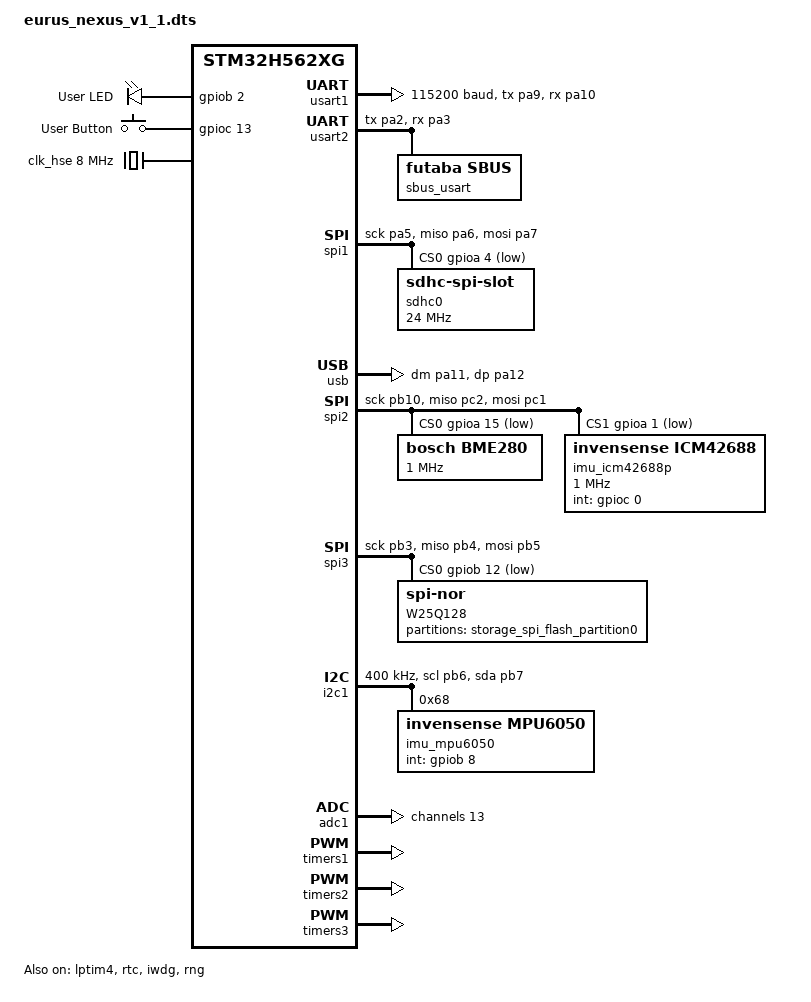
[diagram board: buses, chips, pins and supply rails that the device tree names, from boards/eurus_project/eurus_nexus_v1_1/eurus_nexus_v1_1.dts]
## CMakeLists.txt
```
# This file is part of the efc project <https://github.com/eurus-project/efc/>.
# Copyright (c) (2024 - Present), The efc developers.
#
# This program is free software: you can redistribute it and/or modify
# it under the terms of the GNU General Public License as published by
# the Free Software Foundation, version 3.
#
# This program is distributed in the hope that it will be useful, but
# WITHOUT ANY WARRANTY; without even the implied warranty of
# MERCHANTABILITY or FITNESS FOR A PARTICULAR PURPOSE. See the GNU
# General Public License for more details.
#
# You should have received a copy of the GNU General Public License
# along with this program. If not, see <http://www.gnu.org/licenses/>.

cmake_minimum_required(VERSION 3.20.0)

set(EFC_SOURCE_DIR ${CMAKE_CURRENT_SOURCE_DIR})
if(CMAKE_HOST_WIN32)
	set(VENV_PYTHON ${EFC_SOURCE_DIR}/python_venv/Scripts/python)
else()
	set(VENV_PYTHON ${EFC_SOURCE_DIR}/python_venv/bin/python)
endif()

add_subdirectory(libs)
```

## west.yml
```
manifest:
  remotes:
    - name: eurus-project
      url-base: https://github.com/eurus-project
    - name: upstream-zephyr
      url-base: https://github.com/zephyrproject-rtos
  projects:
    - name: zephyr
      remote: upstream-zephyr
      revision: main
      import: true
  self:
    path: efc
```

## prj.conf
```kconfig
# 
# This file is part of the efc project <https://github.com/eurus-project/efc/>.
# Copyright (c) 2024 The efc developers.
# 
# This program is free software: you can redistribute it and/or modify
# it under the terms of the GNU General Public License as published by
# the Free Software Foundation, version 3.
# 
# This program is distributed in the hope that it will be useful, but
# WITHOUT ANY WARRANTY; without even the implied warranty of
# MERCHANTABILITY or FITNESS FOR A PARTICULAR PURPOSE. See the GNU
# General Public License for more details.
# 
# You should have received a copy of the GNU General Public License
# along with this program. If not, see <http://www.gnu.org/licenses/>.
#

CONFIG_GPIO=y
CONFIG_SERIAL=y
CONFIG_CONSOLE=y
CONFIG_USB_DEVICE_STACK=y
CONFIG_I2C=y
CONFIG_DEBUG=y

CONFIG_ICM42688=y
CONFIG_ICM42688_TRIGGER_OWN_THREAD=y
CONFIG_SENSOR=y

CONFIG_DISK_ACCESS=y
CONFIG_DISK_DRIVERS=y
CONFIG_DISK_DRIVER_SDMMC=y

CONFIG_FILE_SYSTEM=y
CONFIG_FILE_SYSTEM_LITTLEFS=y

CONFIG_FS_LITTLEFS_BLK_DEV=y
CONFIG_FS_LITTLEFS_FMP_DEV=n
CONFIG_FS_LITTLEFS_FC_HEAP_SIZE=8192
CONFIG_FS_LITTLEFS_READ_SIZE=512
CONFIG_FS_LITTLEFS_PROG_SIZE=512
CONFIG_FS_LITTLEFS_CACHE_SIZE=512
CONFIG_FS_LITTLEFS_LOOKAHEAD_SIZE=2048
CONFIG_FS_LITTLEFS_BLOCK_CYCLES=-1

CONFIG_MAIN_STACK_SIZE=4096

CONFIG_LOG=y
CONFIG_DEBUG_COREDUMP=y
CONFIG_DEBUG_COREDUMP_BACKEND_LOGGING=y

CONFIG_CBPRINTF_FP_SUPPORT=y
```

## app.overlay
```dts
/ {
	chosen {
		zephyr,console = &cdc_acm_uart;
	};
};

&zephyr_udc0 {
	cdc_acm_uart: cdc_acm_uart0 {
		compatible = "zephyr,cdc-acm-uart";
	};
};
```

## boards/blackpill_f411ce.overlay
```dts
/*
 * This file is part of the efc project <https://github.com/eurus-project/efc/>.
 * Copyright (c) 2024 The efc developers.
 *
 * This program is free software: you can redistribute it and/or modify
 * it under the terms of the GNU General Public License as published by
 * the Free Software Foundation, version 3.
 *
 * This program is distributed in the hope that it will be useful, but
 * WITHOUT ANY WARRANTY; without even the implied warranty of
 * MERCHANTABILITY or FITNESS FOR A PARTICULAR PURPOSE. See the GNU
 * General Public License for more details.
 *
 * You should have received a copy of the GNU General Public License
 * along with this program. If not, see <http://www.gnu.org/licenses/>.
 */

/ {
	chosen {
		zephyr,console = &cdc_acm_uart;
		telemetry,ground = &usart1;
	};
};

&zephyr_udc0 {
	cdc_acm_uart: cdc_acm_uart0 {
		compatible = "zephyr,cdc-acm-uart";
	};
};

&spi1 {
    cs-gpios = <&gpioa 4 GPIO_ACTIVE_LOW>;

	sdhc0: sdhc@0 {
                compatible = "zephyr,sdhc-spi-slot";
                reg = <0>;
                status = "okay";
                mmc {
                    compatible = "zephyr,sdmmc-disk";
                    disk-name = "SD";
                    status = "okay";
                };
                spi-max-frequency = <24000000>;
        };
};

&spi2 {
    status = "okay";
    pinctrl-0 = <&spi2_sck_pb13 &spi2_miso_pb14 &spi2_mosi_pb15>;
    pinctrl-names = "default";
    cs-gpios = <&gpiob 12 (GPIO_ACTIVE_LOW | GPIO_PULL_UP)>;

    bme280@0 {
        compatible = "bosch,bme280";
        reg = <0>;
        spi-max-frequency = <1000000>;
    };
};

&i2c1 {
	main_imu: mpu6050@68 {
		compatible = "invensense,mpu6050";
		reg = <0x68>;
		status = "okay";
		int-gpios = <&gpiob 7 GPIO_ACTIVE_HIGH>;
	};
};
```

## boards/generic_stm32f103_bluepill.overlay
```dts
/* Overlay file to change LED pin to PB4 */

/ {
    chosen {
        zephyr,console = &cdc_acm_uart;
    };
    leds {
        led: led {
            gpios = <&gpioc 13 GPIO_ACTIVE_HIGH>;
            label = "LD";
        };
        gpio_a6 : gpioa6 {
            gpios = <&gpioa 6 GPIO_ACTIVE_HIGH>;
            label = "GPIO A6";
        };
    };
};

&zephyr_udc0 {
	cdc_acm_uart: cdc_acm_uart0 {
		compatible = "zephyr,cdc-acm-uart";
	};
};
```

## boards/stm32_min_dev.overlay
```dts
/ {
    chosen {
		zephyr,console = &usart2;
	};

    leds {
        compatible = "gpio-leds";
        led: led {
            gpios = <&gpioc 13 GPIO_ACTIVE_HIGH>;
            label = "LD";
        };
    };

    aliases {
        led0 = &led;
    };
};

&usart1 {
    status = "disabled";
};

/* Enable PWM */
&timers1 {
    status = "okay";
    st,prescaler = <24>;

    pwm1: pwm {
        status = "okay";
        pinctrl-0 = <&tim1_ch1_pwm_out_pa8 &tim1_ch2_pwm_out_pa9 
                        &tim1_ch3_pwm_out_pa10 &tim1_ch4_pwm_out_pa11>;
        pinctrl-names = "default";
    };

};

&spi1 {
    cs-gpios = <&gpioa 4 GPIO_ACTIVE_LOW>;

	sdhc0: sdhc@0 {
                compatible = "zephyr,sdhc-spi-slot";
                reg = <0>;
                status = "okay";
                mmc {
                    compatible = "zephyr,sdmmc-disk";
                    disk-name = "SD";
                    status = "okay";
                };
                spi-max-frequency = <24000000>;
        };
};

&i2c1 {
    main_imu: mpu6050@68 {
        compatible = "invensense,mpu6050";
        reg = <0x68>;
        status = "okay";
        int-gpios = <&gpiob 5 GPIO_ACTIVE_HIGH>;
    };
};
```

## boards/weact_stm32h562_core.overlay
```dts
/*
 * This file is part of the efc project <https://github.com/eurus-project/efc/>.
 * Copyright (c) 2024 The efc developers.
 *
 * This program is free software: you can redistribute it and/or modify
 * it under the terms of the GNU General Public License as published by
 * the Free Software Foundation, version 3.
 *
 * This program is distributed in the hope that it will be useful, but
 * WITHOUT ANY WARRANTY; without even the implied warranty of
 * MERCHANTABILITY or FITNESS FOR A PARTICULAR PURPOSE. See the GNU
 * General Public License for more details.
 *
 * You should have received a copy of the GNU General Public License
 * along with this program. If not, see <http://www.gnu.org/licenses/>.
 */

/ {
	chosen {
		zephyr,console = &cdc_acm_uart;
	};
};

&zephyr_udc0 {
	cdc_acm_uart: cdc_acm_uart0 {
		compatible = "zephyr,cdc-acm-uart";
	};
};

&spi1 {
    cs-gpios = <&gpioa 4 GPIO_ACTIVE_LOW>;

	sdhc0: sdhc@0 {
                compatible = "zephyr,sdhc-spi-slot";
                reg = <0>;
                status = "okay";
                mmc {
                    compatible = "zephyr,sdmmc-disk";
                    disk-name = "SD";
                    status = "okay";
                };
                spi-max-frequency = <24000000>;
        };
};

&spi2 {
    status = "okay";
    pinctrl-0 = <&spi2_sck_pb10 &spi2_miso_pc2 &spi2_mosi_pc1>;
    pinctrl-names = "default";
    cs-gpios = <&gpioa 3 (GPIO_ACTIVE_LOW | GPIO_PULL_UP)>;

    bme280@0 {
        compatible = "bosch,bme280";
        reg = <0>;
        spi-max-frequency = <1000000>;
    };
};

&i2c1 {
	main_imu: mpu6050@68 {
		compatible = "invensense,mpu6050";
		reg = <0x68>;
		status = "okay";
		int-gpios = <&gpiob 8 GPIO_ACTIVE_HIGH>;
	};
};
```

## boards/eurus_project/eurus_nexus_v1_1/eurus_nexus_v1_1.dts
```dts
/*
 * This file is part of the efc project <https://github.com/eurus-project/efc/>.
 * Copyright (c) 2024 - 2025 The efc developers.
 *
 * This program is free software: you can redistribute it and/or modify
 * it under the terms of the GNU General Public License as published by
 * the Free Software Foundation, version 3.
 *
 * This program is distributed in the hope that it will be useful, but
 * WITHOUT ANY WARRANTY; without even the implied warranty of
 * MERCHANTABILITY or FITNESS FOR A PARTICULAR PURPOSE. See the GNU
 * General Public License for more details.
 *
 * You should have received a copy of the GNU General Public License
 * along with this program. If not, see <http://www.gnu.org/licenses/>.
 */

/dts-v1/;
#include <st/h5/stm32h562Xg.dtsi>
#include <st/h5/stm32h562rgtx-pinctrl.dtsi>
#include <zephyr/dt-bindings/input/input-event-codes.h>
#include <zephyr/dt-bindings/sensor/icm42688.h>

/ {
	chosen {
		zephyr,console = &cdc_acm_uart;
        zephyr,shell-uart = &cdc_acm_uart;
        zephyr,code-partition = &slot0_partition;
		zephyr,sram = &sram1;
		zephyr,flash = &flash0;
		telemetry,ground = &usart1;
        futaba,sbus = &sbus_usart;
	};

	aliases {
		led0 = &led_0;
		sw0 = &button_0;
		watchdog0 = &iwdg;
	};

	leds {
		compatible = "gpio-leds";

		led_0: led0 {
			gpios = <&gpiob 2 GPIO_ACTIVE_HIGH>;
			label = "User LED";
		};
	};

	gpio_keys {
		compatible = "gpio-keys";

		button_0: button0 {
			label = "User Button";
			gpios = <&gpioc 13 (GPIO_PULL_DOWN | GPIO_ACTIVE_HIGH)>;
			zephyr,code = <INPUT_KEY_0>;
		};
	};
};

&clk_lsi {
	status = "okay";
};

&clk_lse {
	status = "okay";
};

&clk_hsi {
	status = "okay";
};

&clk_hsi48 {
	status = "okay";
};

&clk_hse {
	status = "okay";
	clock-frequency = <DT_FREQ_M(8)>;
};

&rcc {
	clocks = <&pll>;
	clock-frequency = <DT_FREQ_M(240)>;
	ahb-prescaler = <1>;
	apb1-prescaler = <2>;
	apb2-prescaler = <1>;
	apb3-prescaler = <2>;
};

&pll {
	div-m = <2>;
	mul-n = <120>;
	div-p = <2>;
	div-q = <6>; // NOTE: This divider value cannot be lower than this because ADC has a limit on clock value
	div-r = <2>;
	clocks = <&clk_hse>;
	status = "okay";
};

stm32_lp_tick_source: &lptim4 {
	clocks = <&rcc STM32_CLOCK(APB3, 13)>,
		 <&rcc STM32_SRC_LSI LPTIM4_SEL(4)>;
	status = "okay";
};

&flash0 {
	partitions {
		compatible = "fixed-partitions";

		#address-cells = <1>;
		#size-cells = <1>;

		boot_partition: partition@0 {
			label = "mcuboot";
			reg = <0x00000000 DT_SIZE_K(64)>;
		};

		slot0_partition: partition@10000 {
			label = "image-0";
			reg = <0x00010000 DT_SIZE_K(448)>;
		};

		slot1_partition: partition@80000 {
			label = "image-1";
			reg = <0x00080000 DT_SIZE_K(448)>;
		};

		storage_partition: partition@f0000 {
			label = "storage";
			reg = <0x000f0000 DT_SIZE_K(64)>;
		};
	};
};

&sdmmc1 {
    status = "disabled";
};

&rtc {
	clocks = <&rcc STM32_CLOCK(APB3, 21)>,
		 <&rcc STM32_SRC_LSE RTC_SEL(1)>;
	status = "okay";
};

&iwdg {
	status = "okay";
};

&rng {
	status = "okay";
};

&usart1 {
	status = "okay";
	pinctrl-0 = <&usart1_tx_pa9 &usart1_rx_pa10>;
	pinctrl-names = "default";
	current-speed = <115200>;
};

&usart2 {
    pinctrl-0 = <&usart2_tx_pa2 &usart2_rx_pa3>;
	pinctrl-names = "default";
	status = "okay";

    sbus_usart: sbus {
        compatible = "futaba,sbus";
        right_stick_x {
            channel = <1>;
            type = <INPUT_EV_ABS>;
            zephyr,code = <INPUT_ABS_RX>;
        };
        right_stick_y {
            channel = <2>;
            type = <INPUT_EV_ABS>;
            zephyr,code = <INPUT_ABS_RY>;
        };
        left_stick_x {
            channel = <3>;
            type = <INPUT_EV_ABS>;
            zephyr,code = <INPUT_ABS_THROTTLE>;
        };
        left_stick_y {
            channel = <4>;
            type = <INPUT_EV_ABS>;
            zephyr,code = <INPUT_ABS_RZ>;
        };
    };
};

&spi1 {
    pinctrl-0 = <&spi1_sck_pa5 &spi1_miso_pa6 &spi1_mosi_pa7>;
	pinctrl-names = "default";
    status = "okay";
    cs-gpios = <&gpioa 4 (GPIO_ACTIVE_LOW | GPIO_PULL_UP)>;

	sdhc0: sdhc@0 {
                compatible = "zephyr,sdhc-spi-slot";
                reg = <0>;
                status = "okay";
                mmc {
                    compatible = "zephyr,sdmmc-disk";
                    disk-name = "SD_SPI";
                    status = "okay";
                };
                spi-max-frequency = <24000000>;
        };
};

&fdcan1 {
    status = "disabled";
};

zephyr_udc0: &usb {
	pinctrl-0 = <&usb_dm_pa11 &usb_dp_pa12>;
	pinctrl-names = "default";
    cdc_acm_uart: cdc_acm_uart0 {
		compatible = "zephyr,cdc-acm-uart";
	};
	status = "okay";
};

&spi2 {
    status = "okay";
    pinctrl-0 = <&spi2_sck_pb10 &spi2_miso_pc2 &spi2_mosi_pc1>;
    pinctrl-names = "default";
    cs-gpios = <&gpioa 15 (GPIO_ACTIVE_LOW | GPIO_PULL_UP)>,
               <&gpioa 1 (GPIO_ACTIVE_LOW | GPIO_PULL_UP)>;

    bme280@0 {
        compatible = "bosch,bme280";
        reg = <0>;
        spi-max-frequency = <1000000>;
    };

    imu_icm42688p: icm42688@1 {
        compatible = "invensense,icm42688", "invensense,icm4268x";
        reg = <1>;
        status = "okay";
        spi-max-frequency = <1000000>;
        int-gpios = <&gpioc 0 GPIO_ACTIVE_HIGH>;
        accel-pwr-mode = <ICM42688_DT_ACCEL_LN>;
        accel-fs = <ICM42688_DT_ACCEL_FS_16>;
        accel-odr = <ICM42688_DT_ACCEL_ODR_50>;
        gyro-pwr-mode= <ICM42688_DT_GYRO_LN>;
        gyro-fs = <ICM42688_DT_GYRO_FS_2000>;
        gyro-odr = <ICM42688_DT_GYRO_ODR_50>;
	};
};

&spi3 {
    status = "okay";
    pinctrl-0 = <&spi3_sck_pb3 &spi3_miso_pb4 &spi3_mosi_pb5>;
    pinctrl-names = "default";
    cs-gpios = <&gpiob 12 (GPIO_ACTIVE_LOW | GPIO_PULL_UP)>;

    spiflash: spiflash@0 {
        compatible = "jedec,spi-nor";
        status = "okay";
        reg = <0>;
        label = "W25Q128";
        spi-max-frequency = <50000000U>;
        jedec-id = [ef 40 18];
        size = <0x1000000>;
        /* Optionally, set the deep power down mode */
        // has-dpd;
        // t-enter-dpd = <10000>;
        // t-exit-dpd = <35000>;
    };
};

&spiflash {
    partitions {
        compatible = "fixed-partitions";
        #address-cells = <1>;
        #size-cells = <1>;

        spiflash_partition0: partition@0 {
            label = "storage_spi_flash_partition0";
            reg = <0x00000000 0x8000>;  // 32 KB
        };
    };
};

&i2c1 {
    pinctrl-0 = <&i2c1_scl_pb6 &i2c1_sda_pb7>;
    pinctrl-names = "default";
    status = "okay";
    clock-frequency = <I2C_BITRATE_FAST>;

    imu_mpu6050: mpu6050@68 {
		compatible = "invensense,mpu6050";
		reg = <0x68>;
		status = "okay";
		int-gpios = <&gpiob 8 GPIO_ACTIVE_HIGH>;
	};
};

&adc1 {
    compatible = "st,stm32-adc";
	st,adc-clock-source = "SYNC";
	st,adc-prescaler = <4>;
    status = "okay";
    
	#address-cells = <1>;
	#size-cells = <0>;

    channel@13 {
        reg = <13>;
		zephyr,gain = "ADC_GAIN_1";
		zephyr,reference = "ADC_REF_INTERNAL";
		zephyr,acquisition-time = <ADC_ACQ_TIME_DEFAULT>;
		zephyr,resolution = <12>;
    };
};

&timers1 {
	status = "okay";
	st,prescaler = <24>;

	pwm1: pwm {
		status = "okay";
		pinctrl-0 = <&tim1_ch2n_pb14 &tim1_ch4n_pc5>;
		pinctrl-names = "default";
	};
};

&timers2 {
	status = "okay";
	st,prescaler = <24>;

	pwm2: pwm {
		status = "okay";
		pinctrl-0 = <&tim2_ch1_pa0 &tim2_ch4_pc4>;
		pinctrl-names = "default";
	};
};

&timers3 {
	status = "okay";
	st,prescaler = <24>;

	pwm3: pwm {
		status = "okay";
		pinctrl-0 = <&tim3_ch1_pc6 &tim3_ch2_pc7 &tim3_ch3_pb0 &tim3_ch4_pb1>;
		pinctrl-names = "default";
	};
};
```

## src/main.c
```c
/*
 * This file is part of the efc project <https://github.com/eurus-project/efc/>.
 * Copyright (c) 2024 - 2025 The efc developers.
 *
 * This program is free software: you can redistribute it and/or modify
 * it under the terms of the GNU General Public License as published by
 * the Free Software Foundation, version 3.
 *
 * This program is distributed in the hope that it will be useful, but
 * WITHOUT ANY WARRANTY; without even the implied warranty of
 * MERCHANTABILITY or FITNESS FOR A PARTICULAR PURPOSE. See the GNU
 * General Public License for more details.
 *
 * You should have received a copy of the GNU General Public License
 * along with this program. If not, see <http://www.gnu.org/licenses/>.
 */

#include <math.h>
#include <stdio.h>
#include <zephyr/device.h>
#include <zephyr/drivers/gpio.h>
#include <zephyr/drivers/sensor.h>
#include <zephyr/drivers/uart.h>
#include <zephyr/fs/fs.h>
#include <zephyr/fs/littlefs.h>
#include <zephyr/kernel.h>
#include <zephyr/logging/log.h>
#include <zephyr/usb/usb_device.h>
#include <zephyr/usb/usbd.h>

#include "common/mavlink.h"
#include "ulog.h"
#include "ulog_accel.h"
#include "ulog_altitude.h"
#include "ulog_baro.h"
#include "ulog_gyro.h"

#include "telemetry_sender.h"

#define ALTITUDE_SOURCE_TYPE_BARO 1

// Value derrived from BMP280 datasheet (page 15 of 49) for the given sensor
// configuration.
#define BMP280_ALTITUDE_VARIANCE_M .017f

LOG_MODULE_REGISTER(main);

// This LED simply blinks at an interval, indicating visually that the firmware
// is running If anything causes the whole firmware to abort, it will be
// apparent without looking at log output or hooking up a debugger.
static const struct gpio_dt_spec fw_running_led =
    GPIO_DT_SPEC_GET(DT_ALIAS(led0), gpios);

static const uint8_t telemetry_system_id = 0;
static const uint8_t telemetry_component_id = MAV_COMP_ID_AUTOPILOT1;
static const uint8_t telemetry_channel_ground = 0;

static struct fs_littlefs main_fs;

static struct fs_mount_t main_fs_mount = {
    .type = FS_LITTLEFS,
    .fs_data = &main_fs,
    .flags = FS_MOUNT_FLAG_USE_DISK_ACCESS,
    .storage_dev = "SD",
    .mnt_point = "/SD:",
};

struct k_pipe telemetry_ground_pipe;
static uint8_t telemetry_ground_pipe_data[1024];

static mavlink_message_t mavlink_msg_buf;

static ULOG_Inst_Type ulog_log;
static uint16_t gyro_msg_id = 0;
static uint16_t accel_msg_id = 0;
static uint16_t baro_msg_id = 0;
static uint16_t baro_alt_msg_id = 0;

K_THREAD_STACK_DEFINE(telemetry_thread_stack, 2048);
static struct k_thread telemetry_thread;

#if defined(CONFIG_USB_DEVICE_STACK_NEXT)
static struct usbd_context *sample_usbd;

static int enable_usb_device_next(void) {
    int err;

    sample_usbd = sample_usbd_init_device(NULL);
    if (sample_usbd == NULL) {
        return -ENODEV;
    }

    err = usbd_enable(sample_usbd);
    if (err) {
        return err;
    }

    return 0;
}
#endif /* defined(CONFIG_USB_DEVICE_STACK_NEXT) */

static int process_imu(const struct device *dev) {
    struct sensor_value temperature;
    struct sensor_value accel[3];
    struct sensor_value gyro[3];

    int ret = sensor_sample_fetch(dev);
    if (ret < 0) {
        LOG_ERR("Could not fetch data from IMU!");
        return ret;
    }

    const int64_t timestamp_ms = k_uptime_get();

    ret = sensor_channel_get(dev, SENSOR_CHAN_ACCEL_XYZ, accel);
    if (ret < 0) {
        LOG_ERR("Could not get accelerometer data!");
        return ret;
    }

    ret = sensor_channel_get(dev, SENSOR_CHAN_GYRO_XYZ, gyro);
    if (ret < 0) {
        LOG_ERR("Could not get gyroscope data!");
        return ret;
    }

    ret = sensor_channel_get(dev, SENSOR_CHAN_DIE_TEMP, &temperature);
    if (ret < 0) {
        LOG_WRN("Could not get IMU die temperature data!");
    }

    const uint16_t telemetry_msg_len = mavlink_msg_scaled_imu_pack_chan(
        telemetry_system_id, telemetry_component_id, telemetry_channel_ground,
        &mavlink_msg_buf, timestamp_ms, sensor_value_to_milli(&accel[0]),
        sensor_value_to_milli(&accel[1]), sensor_value_to_milli(&accel[2]),
        sensor_value_to_milli(&gyro[0]), sensor_value_to_milli(&gyro[1]),
        sensor_value_to_milli(&gyro[2]), 0, 0, 0,
        sensor_value_to_milli(&temperature) / 100);

    ret =
        k_pipe_write(&telemetry_ground_pipe, (const uint8_t *)&mavlink_msg_buf,
                     telemetry_msg_len, K_NO_WAIT);

    if (ret < 0) {
        LOG_WRN("Could not fit data into telemetry pipe!");
    }

    ULOG_Gyro_Type gyro_msg = {
        .timestamp = timestamp_ms * 1000,
        .x = sensor_value_to_float(&gyro[0]),
        .y = sensor_value_to_float(&gyro[1]),
        .z = sensor_value_to_float(&gyro[2]),
    };

    ULOG_Accel_Type accel_msg = {
        .timestamp = timestamp_ms * 1000,
        .x = sensor_value_to_float(&accel[0]),
        .y = sensor_value_to_float(&accel[1]),
        .z = sensor_value_to_float(&accel[2]),
    };

    ULOG_Gyro_Write(&ulog_log, &gyro_msg, gyro_msg_id);
    ULOG_Accel_Write(&ulog_log, &accel_msg, accel_msg_id);

    return 0;
}

static int process_baro(const struct device *dev) {
    struct sensor_value baro_temp;
    struct sensor_value baro_press;

    float temperature;
    float pressure;
    float altitude;

    int ret = sensor_sample_fetch(dev);
    if (ret < 0) {
        LOG_ERR("Could not fetch data from barometer!");
        return ret;
    }

    ret = sensor_channel_get(dev, SENSOR_CHAN_AMBIENT_TEMP, &baro_temp);
    if (ret < 0) {
        LOG_ERR("Could not get barometer temperature data!");
        return ret;
    }

    ret = sensor_channel_get(dev, SENSOR_CHAN_PRESS, &baro_press);
    if (ret < 0) {
        LOG_ERR("Could not get barometer pressure data!");
        return ret;
    }

    temperature = sensor_value_to_float(&baro_temp);
    pressure = sensor_value_to_float(&baro_press);
    const uint32_t timestamp_ms = k_uptime_get();

    ULOG_Baro_Type baro_msg = {
        .timestamp = timestamp_ms * 1000,
        .temperature = temperature,
        .pressure = pressure,
    };

    const uint16_t telemetry_msg_len = mavlink_msg_scaled_pressure_pack_chan(
        telemetry_system_id, telemetry_component_id, telemetry_channel_ground,
        &mavlink_msg_buf, timestamp_ms, pressure * 10.0f, 0.0f,
        sensor_value_to_milli(&baro_temp) / 100, 0);

    ret =
        k_pipe_write(&telemetry_ground_pipe, (const uint8_t *)&mavlink_msg_buf,
                     telemetry_msg_len, K_NO_WAIT);

    if (ret < 0) {
        LOG_WRN("Could not fit data into telemetry pipe!");
    }

    ULOG_Baro_Write(&ulog_log, &baro_msg, baro_msg_id);

    altitude = 44330.0f * (1.0f - powf((pressure / 101.325f), 1.0f / 5.255f));

    ULOG_Altitude_Type altitude_msg = {.timestamp = timestamp_ms * 1000,
                                       .source = ALTITUDE_SOURCE_TYPE_BARO,
                                       .altitude = altitude,
                                       .variance = BMP280_ALTITUDE_VARIANCE_M};

    ULOG_Altitude_Write(&ulog_log, &altitude_msg, baro_alt_msg_id);

    return 0;
}

void telemetry_heartbeat(void) {
    LOG_INF("Sending heartbeat!");

    const uint16_t telemetry_msg_len = mavlink_msg_heartbeat_pack_chan(
        telemetry_system_id, telemetry_component_id, telemetry_channel_ground,
        &mavlink_msg_buf, MAV_TYPE_GENERIC, MAV_AUTOPILOT_GENERIC,
        MAV_MODE_FLAG_MANUAL_INPUT_ENABLED, 0, MAV_STATE_ACTIVE);

    int ret =
        k_pipe_write(&telemetry_ground_pipe, (const uint8_t *)&mavlink_msg_buf,
                     telemetry_msg_len, K_NO_WAIT);

    if (ret < 0) {
        LOG_WRN("Could not fit data into telemetry pipe!");
    }
}

int main(void) {
    if (DT_NODE_HAS_COMPAT(DT_CHOSEN(zephyr_console), zephyr_cdc_acm_uart)) {
#if defined(CONFIG_USB_DEVICE_STACK_NEXT)
        if (enable_usb_device_next()) {
            return 0;
        }
#else
        if (usb_enable(NULL)) {
            return 0;
        }
#endif
    }

    if (!gpio_is_ready_dt(&fw_running_led)) {
        LOG_ERR("The firmware running LED is not ready");
        return 0;
    }

    int ret;
    ret = gpio_pin_configure_dt(&fw_running_led, GPIO_OUTPUT_ACTIVE);
    if (ret < 0) {
        LOG_ERR("Could not configure the firmware running LED as output");
        return 0;
    }

    const struct device *const main_imu = DEVICE_DT_GET(DT_NODELABEL(main_imu));

    if (!device_is_ready(main_imu)) {
        LOG_ERR("Device %s is not ready\n", main_imu->name);
        return 0;
    }

    const struct device *const main_baro = DEVICE_DT_GET_ANY(bosch_bme280);

    if (!device_is_ready(main_baro)) {
        printk("Device %s is not ready\n", main_baro->name);
        return 0;
    }

    ret = fs_mount(&main_fs_mount);
    if (ret < 0) {
        LOG_ERR("Could not mount filesystem!\n");
        return 0;
    }

    uint32_t boot_count = 0;
    struct fs_file_t boot_count_file;
    fs_file_t_init(&boot_count_file);

    char filename[LFS_NAME_MAX];
    snprintf(filename, sizeof(filename), "%s/boot_count",
             main_fs_mount.mnt_point);
    ret = fs_open(&boot_count_file, filename, FS_O_RDWR | FS_O_CREATE);
    if (ret < 0) {
        LOG_ERR("Could not open file!\n");
        return 0;
    }

    ret = fs_read(&boot_count_file, &boot_count, sizeof(boot_count));
    if (ret < 0) {
        LOG_ERR("Could not read from file!\n");
        return 0;
    }

    ret = fs_seek(&boot_count_file, 0, FS_SEEK_SET);
    if (ret < 0) {
        LOG_ERR("Could not seek to beggining of the file!\n");
        return 0;
    }

    boot_count += 1;
    ret = fs_write(&boot_count_file, &boot_count, sizeof(boot_count));
    if (ret < 0) {
        LOG_ERR("Could not write to file!\n");
        return 0;
    }

    ret = fs_close(&boot_count_file);
    if (ret < 0) {
        LOG_ERR("Could not close file!\n");
        return 0;
    }

    LOG_INF("Boot count: %d\n", (int)boot_count);

    memset(filename, 0, sizeof(filename));
    snprintf(filename, sizeof(filename), "%s/log_%d.ulg",
             main_fs_mount.mnt_point, (int)boot_count);
    ULOG_Config_Type log_cfg = {
        .filename = filename,
    };

    k_pipe_init(&telemetry_ground_pipe, telemetry_ground_pipe_data,
                sizeof(telemetry_ground_pipe_data));

    k_thread_create(&telemetry_thread, telemetry_thread_stack,
                    K_THREAD_STACK_SIZEOF(telemetry_thread_stack),
                    telemetry_sender, NULL, NULL, NULL,
                    K_LOWEST_APPLICATION_THREAD_PRIO, 0, K_NO_WAIT);
    k_thread_start(&telemetry_thread);

    if (ULOG_Init(&ulog_log, &log_cfg) != ULOG_SUCCESS) {
        LOG_ERR("Could not open log!");
    }

    if (ULOG_Gyro_RegisterFormat(&ulog_log) != ULOG_SUCCESS) {
        LOG_ERR("Could not register ULOG gyro format!");
    }

    if (ULOG_Accel_RegisterFormat(&ulog_log) != ULOG_SUCCESS) {
        LOG_ERR("Could not register ULOG accel format!");
    }

    if (ULOG_Baro_RegisterFormat(&ulog_log) != ULOG_SUCCESS) {
        LOG_ERR("Could not register ULOG baro format!");
    }

    if (ULOG_Altitude_RegisterFormat(&ulog_log) != ULOG_SUCCESS) {
        LOG_ERR("Could not register ULOG altitude format!");
    }

    const char alt_src_type_baro_key[] = "int32_t ALTITUDE_SOURCE_TYPE_BARO";
    const int32_t alt_src_type_baro = ALTITUDE_SOURCE_TYPE_BARO;
    if (ULOG_AddParameter(&ulog_log, alt_src_type_baro_key,
                          strlen(alt_src_type_baro_key), &alt_src_type_baro)) {
        LOG_ERR("Could not write Altitude Source Type Baro parameter!");
    }

    const char sys_name_key[] = "char[3] sys_name";
    const char sys_name[] = "EFC";
    if (ULOG_AddInfo(&ulog_log, sys_name_key, strlen(sys_name_key), sys_name,
                     strlen(sys_name))) {
        LOG_ERR("Could not system name info to the log!");
    }

    const char main_imu_name_key[] = "char[7] main_imu_name";
    const char main_imu_name[] = "MPU6050";
    if (ULOG_AddInfo(&ulog_log, main_imu_name_key, strlen(main_imu_name_key),
                     main_imu_name, strlen(main_imu_name))) {
        LOG_ERR("Could not main IMU info to the log!");
    }

    const char main_baro_name_key[] = "char[6] main_baro_name";
    const char main_baro_name[] = "BMP280";
    if (ULOG_AddInfo(&ulog_log, main_baro_name_key, strlen(main_baro_name_key),
                     main_baro_name, strlen(main_baro_name))) {
        LOG_ERR("Could not write main baro info to the log!");
    }

    if (ULOG_StartDataPhase(&ulog_log) != ULOG_SUCCESS) {
        LOG_ERR("Could not start ULOG data phase!");
    }

    if (ULOG_Gyro_Subscribe(&ulog_log, 0, &gyro_msg_id) != ULOG_SUCCESS) {
        LOG_ERR("Could not subscribe ULOG log to gyro message!");
    }

    if (ULOG_Accel_Subscribe(&ulog_log, 0, &accel_msg_id) != ULOG_SUCCESS) {
        LOG_ERR("Could not subscribe ULOG log to accel message!");
    }

    if (ULOG_Baro_Subscribe(&ulog_log, 0, &baro_msg_id) != ULOG_SUCCESS) {
        LOG_ERR("Could not subscribe ULog baro message!");
    }

    if (ULOG_Altitude_Subscribe(&ulog_log, 0, &baro_alt_msg_id) !=
        ULOG_SUCCESS) {
        LOG_ERR("Could not subscribe ULog altitude message!");
    }

    while (1) {
        ret = gpio_pin_toggle_dt(&fw_running_led);
        if (ret < 0) {
            LOG_ERR("Could not toggle the firmware running LED");
            return 0;
        }

        process_imu(main_imu);

        process_baro(main_baro);

        ULOG_Sync(&ulog_log);

        telemetry_heartbeat();

        k_msleep(1000);
    }

    return 0;
}
```
